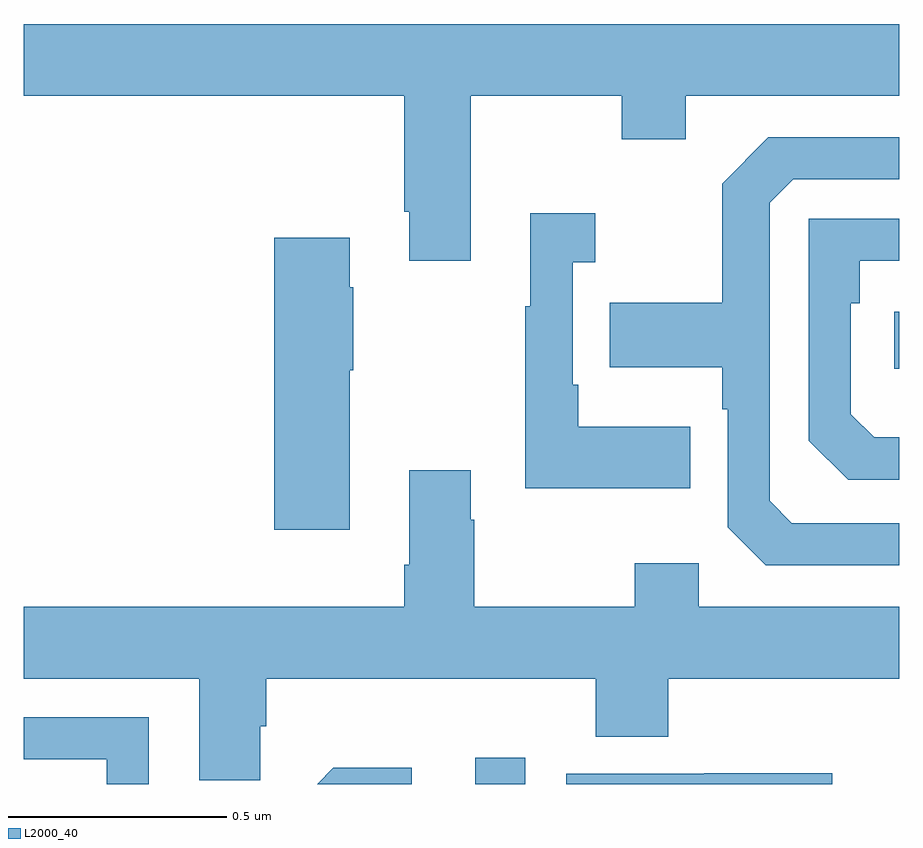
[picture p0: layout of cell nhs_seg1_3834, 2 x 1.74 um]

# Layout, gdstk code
import gdstk
lib = gdstk.Library(unit=1e-6, precision=1e-09)
def R(c, l, rs):  # rectangles x0, y0, x1, y1
    for r in rs: c.add(gdstk.rectangle(r[:2], r[2:], *l))
def P(c, l, *ps):  # polygons
    for p in ps: c.add(gdstk.Polygon(p, *l))
L2000_40 = (2000, 40)

nhs_seg1_3834 = lib.new_cell('nhs_seg1_3834')
R(nhs_seg1_3834, L2000_40, [(160.031,510.199,160.146,510.259), (160.989,511.148,161,511.278)])
P(nhs_seg1_3834, L2000_40, [(160.021,511.772),(160.366,511.772),(160.366,511.673),(160.513,511.673),(160.513,511.772),(161,511.772),(161,511.936),(159,511.936),(159,511.772),(159.869,511.772),(159.869,511.507),(159.881,511.507),(159.881,511.395),(160.021,511.395)],
  [(161,510.795),(160.755,510.795),(160.704,510.846),(160.704,511.527),(160.758,511.581),(161,511.581),(161,511.677),(160.701,511.677),(160.596,511.571),(160.596,511.299),(160.339,511.299),(160.339,511.151),(160.596,511.151),(160.596,511.055),(160.608,511.055),(160.608,510.786),(160.695,510.699),(161,510.699)],
  [(160.523,511.015),(160.267,511.015),(160.267,511.111),(160.254,511.111),(160.254,511.391),(160.306,511.391),(160.306,511.504),(160.157,511.504),(160.157,511.291),(160.146,511.291),(160.146,510.875),(160.523,510.875)],
  [(161,510.991),(160.943,510.991),(160.89,511.044),(160.89,511.298),(160.91,511.298),(160.91,511.395),(161,511.395),(161,511.491),(160.794,511.491),(160.794,510.984),(160.884,510.894),(161,510.894)],
  [(159.745,511.145),(159.753,511.145),(159.753,511.334),(159.745,511.334),(159.745,511.447),(159.572,511.447),(159.572,510.78),(159.745,510.78)],
  [(159.54,510.331),(159.554,510.331),(159.554,510.44),(160.307,510.44),(160.307,510.307),(160.472,510.307),(160.472,510.44),(161,510.44),(161,510.604),(160.542,510.604),(160.542,510.703),(160.396,510.703),(160.396,510.604),(160.029,510.604),(160.029,510.803),(160.021,510.803),(160.021,510.916),(159.881,510.916),(159.881,510.7),(159.869,510.7),(159.869,510.604),(159,510.604),(159,510.44),(159.401,510.44),(159.401,510.208),(159.54,510.208)],
  [(159.285,510.351),(159,510.351),(159,510.255),(159.189,510.255),(159.189,510.199),(159.285,510.199)],
  [(159.886,510.236),(159.707,510.236),(159.67,510.199),(159.886,510.199)],
  [(160.847,510.224),(160.555,510.224),(160.555,510.222),(160.239,510.222),(160.239,510.199),(160.847,510.199)])

lib.write_gds('nhs_seg1_3834.gds')
